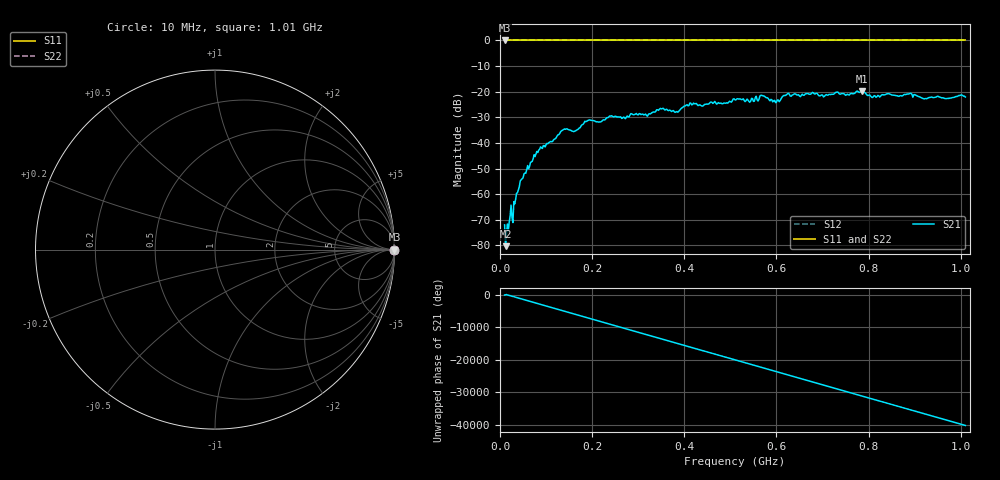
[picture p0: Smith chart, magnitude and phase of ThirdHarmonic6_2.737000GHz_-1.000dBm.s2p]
! 8/17/2025 6:46:11 AM
! C:\ANRITSUVNA\TEMP\TEMP.S2P
! CHANNEL.1
! TR.MEASUREMENT
! RAW.DATA
! RF.CORRECTION.OFF
! AVERAGING.OFF
! IF.BANDWIDTH: 5KHZ
! SWEEPTYPE:  FREQ.SWEEP(Linear)
! Reference Plane Port Info
! PORT:  PORT1  PORT2
! DISTANCE:  0  m  0  m
! TIME:  0  s  0  s
! PHASE.OFFSET:  0  deg.  0  deg.
! LOSS:  0  dB  0  dB
! REF.LOSS:  0  dB  0  dB
! REF.FREQ:  0  Hz  0  Hz
! Power Info
! POWER:  -20  dBm  -20  dBm
! EFF.POWER:  -20  dBm  -20  dBm
! SOURCE.ATTEN:  0  dB  0  dB
! TEST.ATTEN:  0  dB  0  dB
# GHZ S RI R 50.0
! FREQ.GHZ  S11RE  S11IM  S21RE  S21IM  S12RE  S12IM  S22RE  S22IM
!; PortSelection: Port_12
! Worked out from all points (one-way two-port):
!   501 points, 10 MHz to 1.01 GHz, reference 50 ohm
!   highest |S21| = -19.75 dB at 786 MHz (marker M1); lowest = -80.3 dB at 12 MHz (marker M2)
!   lowest |S11| = 0.0 dB at 10 MHz (marker M3)
!   |S11| at or under -10 dB: nowhere
!   |S22| runs from 0.0 to 0.0 dB; largest |S21 - S12| = 1.1
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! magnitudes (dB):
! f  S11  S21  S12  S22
! 10 MHz  0.0  -72.0  0.0  0.0
! 12 MHz  0.0  -80.3  0.0  0.0
! 16 MHz  0.0  -71.7  0.0  0.0
! 20 MHz  0.0  -70.9  0.0  0.0
! 30 MHz  0.0  -62.9  0.0  0.0
! 34 MHz  0.0  -62.0  0.0  0.0
! 48 MHz  0.0  -54.0  0.0  0.0
! 76 MHz  0.0  -45.3  0.0  0.0
! 136 MHz  0.0  -35.0  0.0  0.0
! 178 MHz  0.0  -32.9  0.0  0.0
! 344 MHz  0.0  -27.3  0.0  0.0
! 384 MHz  0.0  -27.8  0.0  0.0
! 416 MHz  0.0  -25.1  0.0  0.0
! 510 MHz  0.0  -23.2  0.0  0.0
! 568 MHz  0.0  -21.5  0.0  0.0
! 596 MHz  0.0  -23.4  0.0  0.0
! 624 MHz  0.0  -20.8  0.0  0.0
! 678 MHz  0.0  -20.3  0.0  0.0
! 786 MHz  0.0  -19.8  0.0  0.0
! 808 MHz  0.0  -22.3  0.0  0.0
! 844 MHz  0.0  -20.8  0.0  0.0
! 1.01 GHz  0.0  -22.1  0.0  0.0
